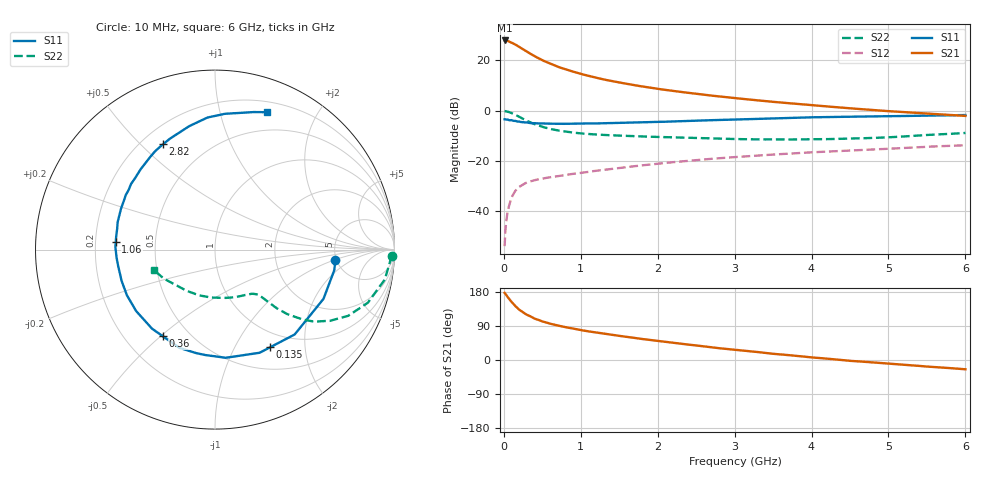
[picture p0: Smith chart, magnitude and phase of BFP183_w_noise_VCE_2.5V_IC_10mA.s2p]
! Infineon Technologies  Discrete & RF Semiconductors
! BFP183
! VCE = 2.5 V,  IC =  10 mA
! Common Emitter S-Parameters:  Jan 2016
# GHz  S  MA  R  50
!  f  S11  S21  S12  S22
! GHz  MAG  ANG  MAG  ANG  MAG  ANG  MAG  ANG
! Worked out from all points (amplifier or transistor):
!   210 points, 10 MHz to 6 GHz, reference 50 ohm
!   highest |S21| = 28.0 dB at 10 MHz (marker M1)
!   |S21| within 3 dB of that: start of sweep to 222.1 MHz
!   unconditionally stable (mu >= 1): 1.144 GHz to 5.616 GHz
!   at 185 MHz: K = 0.26, MSG = 28.2 dB, |S12| = -30.8 dB
!   at 1.52 GHz: K = 1.11, MAG = 15.0 dB, |S12| = -22.8 dB
!   at 6 GHz: K = 0.95, MSG = 5.8 dB, |S12| = -13.8 dB
!   lowest NFmin = 1.30 dB at 450 MHz
!   S11 on the Smith chart (normalised r, x): 10 MHz: 4.91, -1.01; 135 MHz: 0.79, -1.40; 360 MHz: 0.36, -0.51; 1.06 GHz: 0.29, +0.04; 2.82 GHz: 0.28, +0.58; 6 GHz: 0.30, +1.40
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0.01  0.6737 -4.8  25.01 177.2  0.002 82.8  0.9842 -2.0
0.05  0.6639 -24.4  24.54 166.0  0.0097 79.9  0.9605 -10.0
0.08  0.6427 -37.7  23.33 158.5  0.0149 71.7  0.9226 -15.3
0.1  0.6486 -46.8  22.76 153.2  0.0184 68.8  0.9021 -19.1
0.135  0.6249 -60.5  21.23 145.6  0.0233 62.8  0.8494 -24.1
0.15  0.6262 -66.6  20.7 142.1  0.0254 60.9  0.829 -26.4
0.2  0.6057 -84.3  18.67 132.7  0.0303 55.9  0.7533 -31.8
0.26  0.5859 -100.5  16.23 124.0  0.0345 50.3  0.6731 -36.4
0.36  0.5635 -120.9  13.19 113.7  0.0396 45.5  0.5731 -40.4
0.4  0.5632 -128.5  12.14 109.1  0.0412 44.1  0.5382 -41.8
0.5  0.557 -142.1  10.07 101.8  0.0445 41.4  0.476 -43.5
0.6  0.5528 -152.6  8.676 95.9  0.0471 41.2  0.4337 -44.2
0.8  0.547 -169.0  6.669 86.6  0.0522 41.4  0.3831 -45.1
1.02  0.5549 177.6  5.298 78.3  0.0581 42.1  0.3505 -46.2
1.06  0.5549 175.5  5.116 77.0  0.0594 42.3  0.3464 -46.5
1.5  0.5712 156.4  3.641 63.6  0.0721 43.5  0.318 -50.9
2.02  0.5972 138.2  2.69 49.8  0.0886 43.1  0.2992 -58.9
2.82  0.6545 116.3  1.906 30.7  0.1136 39.3  0.2769 -76.3
3.1  0.6724 110.0  1.72 25.1  0.1217 37.6  0.2704 -83.4
4.1  0.7402 91.8  1.251 5.3  0.1505 30.8  0.2701 -112.4
5.1  0.7786 78.5  0.957 -10.9  0.1773 24.4  0.3 -140.6
6  0.8178 69.4  0.786 -24.5  0.2046 16.5  0.3598 -161.9
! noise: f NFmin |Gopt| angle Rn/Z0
0.45  1.3  0.15  45  0.18
0.9  1.4  0.2  125  0.19
1.8  2.1  0.34  -170  0.14
